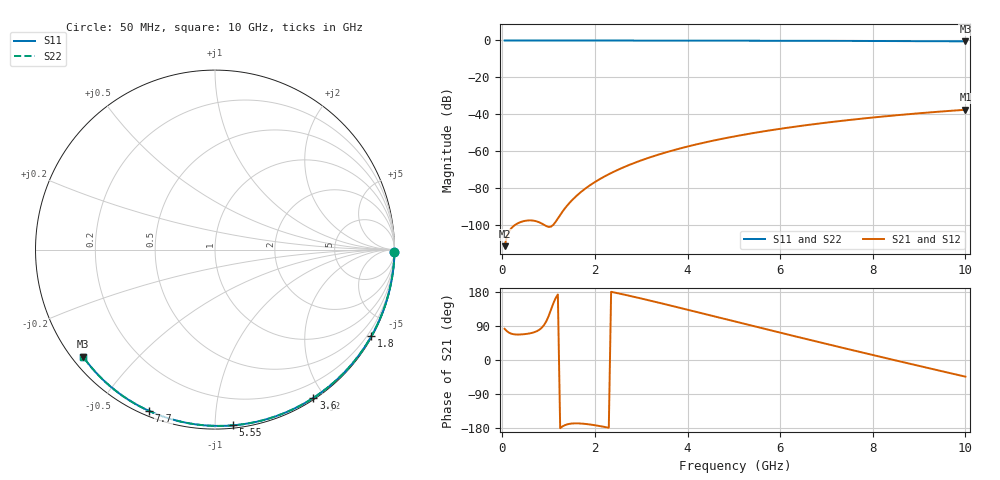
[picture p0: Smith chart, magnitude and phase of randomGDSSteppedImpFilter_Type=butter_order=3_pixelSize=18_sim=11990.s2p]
! freq	dB(S11)	phase(S11)	dB(S12)	phase(S12)
!  dB(S21)	phase(S21)	dB(S22)	phase(S22)
!S-par simulation data
#  GHz  S  DB  R 50
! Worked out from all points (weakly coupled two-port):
!   200 points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, 50 MHz to 10 GHz, reference 50 ohm
!   highest |S21| = -37.64 dB at 10 GHz (marker M1); lowest = -111.7 dB at 50 MHz (marker M2)
!   lowest |S11| = -0.5 dB at 10 GHz (marker M3), VSWR 36.47, Z = 1.54 - j17.7 ohm
!   |S11| at or under -10 dB: nowhere
!   |S22| runs from -0.5 to 0.0 dB; largest |S21 - S12| = 0
!   S11 on the Smith chart (normalised r, x): 50 MHz: open; 1.8 GHz: 0.03, -3.88; 3.6 GHz: 0.02, -1.86; 5.55 GHz: 0.02, -1.11; 7.7 GHz: 0.02, -0.67; 10 GHz: 0.03, -0.35
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0.05  -0.00 -0.8  -111.71 82.3  -111.71 82.3  -0.00 -0.8
0.45  -0.01 -7.3  -98.20 67.9  -98.20 67.9  -0.01 -7.3
0.9  -0.02 -14.6  -100.10 92.0  -100.10 92.0  -0.02 -14.6
1.75  -0.04 -28.1  -81.26 -168.2  -81.26 -168.2  -0.04 -28.1
1.8  -0.04 -28.9  -80.30 -168.8  -80.30 -168.8  -0.04 -28.9
1.85  -0.04 -29.7  -79.39 -169.5  -79.39 -169.5  -0.04 -29.7
2  -0.04 -32.0  -76.89 -172.1  -76.89 -172.1  -0.04 -32.1
2.15  -0.04 -34.4  -74.64 -175.3  -74.64 -175.3  -0.04 -34.4
2.35  -0.05 -37.5  -71.99 179.9  -71.99 179.9  -0.05 -37.5
2.55  -0.05 -40.6  -69.63 174.8  -69.63 174.8  -0.05 -40.6
2.95  -0.06 -46.7  -65.57 163.7  -65.57 163.7  -0.06 -46.7
3.4  -0.07 -53.5  -61.78 150.6  -61.78 150.6  -0.07 -53.5
3.6  -0.08 -56.4  -60.29 144.7  -60.29 144.7  -0.08 -56.5
4.3  -0.09 -66.7  -55.80 123.6  -55.80 123.6  -0.09 -66.7
5.05  -0.12 -77.3  -51.93 100.8  -51.93 100.8  -0.12 -77.3
5.55  -0.14 -84.2  -49.74 85.7  -49.74 85.7  -0.14 -84.2
6.1  -0.16 -91.6  -47.61 69.2  -47.61 69.2  -0.16 -91.6
6.7  -0.19 -99.5  -45.55 51.3  -45.55 51.3  -0.19 -99.5
7.7  -0.26 -112.3  -42.62 21.9  -42.62 21.9  -0.26 -112.4
8.35  -0.31 -120.5  -40.99 3.0  -40.99 3.0  -0.31 -120.5
9.2  -0.39 -131.0  -39.13 -21.3  -39.13 -21.3  -0.39 -131.1
10  -0.48 -140.9  -37.64 -43.9  -37.64 -43.9  -0.48 -141.0
